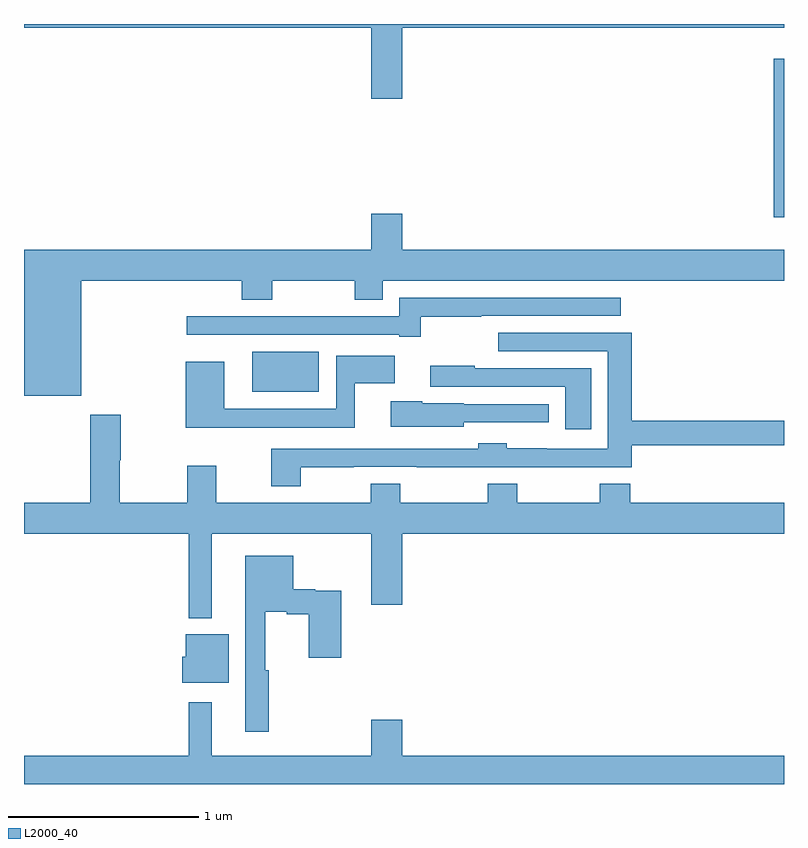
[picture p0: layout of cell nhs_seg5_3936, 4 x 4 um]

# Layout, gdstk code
import gdstk
lib = gdstk.Library(unit=1e-6, precision=1e-09)
def R(c, l, rs):  # rectangles x0, y0, x1, y1
    for r in rs: c.add(gdstk.rectangle(r[:2], r[2:], *l))
def P(c, l, *ps):  # polygons
    for p in ps: c.add(gdstk.Polygon(p, *l))
L2000_40 = (2000, 40)

nhs_seg5_3936 = lib.new_cell('nhs_seg5_3936')
R(nhs_seg5_3936, L2000_40, [(344.201,834.863,344.551,835.075), (346.946,835.782,347,836.617)])
P(nhs_seg5_3936, L2000_40, [(344.992,836.78),(347,836.78),(347,836.799),(343,836.799),(343,836.78),(344.828,836.78),(344.828,836.406),(344.992,836.406)],
  [(343.3,835.448),(344.147,835.448),(344.147,835.349),(344.307,835.349),(344.307,835.448),(344.74,835.448),(344.74,835.349),(344.887,835.349),(344.887,835.448),(347,835.448),(347,835.612),(344.992,835.612),(344.992,835.801),(344.828,835.801),(344.828,835.612),(343,835.612),(343,834.842),(343.3,834.842)],
  [(345.089,835.258),(345.407,835.258),(345.407,835.263),(346.141,835.263),(346.141,835.359),(344.975,835.359),(344.975,835.26),(344.651,835.26),(344.651,835.262),(344.395,835.262),(344.395,835.26),(343.857,835.26),(343.857,835.163),(344.105,835.163),(344.105,835.164),(344.975,835.164),(344.975,835.152),(345.089,835.152)],
  [(344.457,834.467),(344.735,834.467),(344.735,834.468),(345.067,834.468),(345.067,834.467),(346.199,834.467),(346.199,834.582),(347,834.582),(347,834.71),(346.199,834.71),(346.199,835.173),(345.495,835.173),(345.495,835.077),(346.073,835.077),(346.073,834.564),(345.752,834.564),(345.752,834.565),(345.54,834.565),(345.54,834.592),(345.39,834.592),(345.39,834.564),(344.302,834.564),(344.302,834.366),(344.457,834.366)],
  [(344.741,834.908),(344.95,834.908),(344.95,835.054),(344.643,835.054),(344.643,834.775),(344.053,834.775),(344.053,835.021),(343.85,835.021),(343.85,834.674),(344.741,834.674)],
  [(345.985,834.987),(345.373,834.987),(345.373,835),(345.137,835),(345.137,834.891),(345.848,834.891),(345.848,834.666),(345.985,834.666)],
  [(345.315,834.702),(345.763,834.702),(345.763,834.798),(345.315,834.798),(345.315,834.802),(345.096,834.802),(345.096,834.813),(344.931,834.813),(344.931,834.68),(345.315,834.68)],
  [(343.987,834.116),(344.828,834.116),(344.828,833.742),(344.992,833.742),(344.992,834.116),(347,834.116),(347,834.28),(346.19,834.28),(346.19,834.379),(346.03,834.379),(346.03,834.28),(345.597,834.28),(345.597,834.379),(345.442,834.379),(345.442,834.28),(344.979,834.28),(344.979,834.379),(344.824,834.379),(344.824,834.28),(344.013,834.28),(344.013,834.475),(343.858,834.475),(343.858,834.28),(343.503,834.28),(343.503,834.503),(343.508,834.503),(343.508,834.742),(343.348,834.742),(343.348,834.28),(343,834.28),(343,834.116),(343.866,834.116),(343.866,833.672),(343.987,833.672)],
  [(344.287,833.397),(344.269,833.397),(344.269,833.705),(344.384,833.705),(344.384,833.693),(344.498,833.693),(344.498,833.463),(344.669,833.463),(344.669,833.815),(344.532,833.815),(344.532,833.823),(344.416,833.823),(344.416,834.001),(344.165,834.001),(344.165,833.073),(344.287,833.073)],
  [(344.077,833.587),(343.85,833.587),(343.85,833.469),(343.832,833.469),(343.832,833.333),(344.077,833.333)],
  [(347,832.948),(344.992,832.948),(344.992,833.137),(344.828,833.137),(344.828,832.948),(343.987,832.948),(343.987,833.23),(343.866,833.23),(343.866,832.948),(343,832.948),(343,832.799),(347,832.799)])

lib.write_gds('nhs_seg5_3936.gds')
